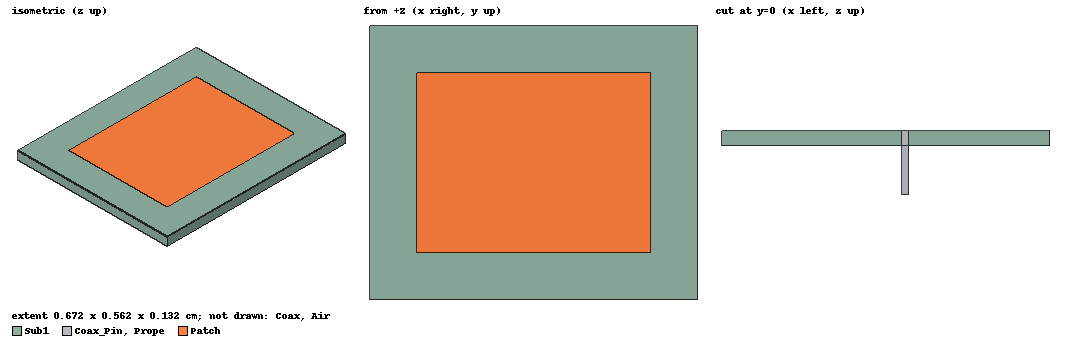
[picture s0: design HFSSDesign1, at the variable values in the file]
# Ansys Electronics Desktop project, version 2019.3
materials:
  vacuum: permittivity=1
  Rogers RT/duroid 5880 (tm): permittivity=2.2 dielectric_loss_tangent=0.0009
  pec: conductivity=1e+30
  Rogers RO4003 (tm): permittivity=3.55 dielectric_loss_tangent=0.0027

design HFSSDesign1 (HFSS, DrivenTerminal, model units cm)
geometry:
  Sub1 [Rogers RO4003 (tm)] = box(corner=((-7-3*0.32) mm, (-1-3*0.32) mm, 0mm), size=((6*0.32+4.8) mm, (6*0.32+3.7) mm, 0.32mm))
  inf_GND [Rogers RT/duroid 5880 (tm)] = rectangle(corner=((-7-3*0.32) mm, (-1-3*0.32) mm, 0mm), x_size=(6*0.32+4.8) mm, y_size=(6*0.32+3.7) mm)
  Cut_Out = circle(normal=Z, centre=(-0.5cm, 0cm, 0cm), radius=0.16mm)
  inf_GND.subtract(Cut_Out)
  Patch [Rogers RT/duroid 5880 (tm)] = rectangle(corner=((-0.7*10) mm, (-0.1*10) mm, 0.32mm), x_size=4.8mm, y_size=3.7mm)
  Coax [vacuum] = cylinder(axis=Z, base_centre=(-0.5cm, 0cm, 0cm), radius=0.16mm, height=-0.1cm)
  Coax_Pin [pec] = cylinder(axis=Z, base_centre=(-0.5cm, 0cm, 0cm), radius=0.07mm, height=-0.1cm)
  Port1 [pec] = circle(normal=Z, centre=(-0.5cm, 0cm, -0.1cm), radius=0.16mm)
  Prope [pec] = cylinder(axis=Z, base_centre=(-0.5cm, 0cm, 0cm), radius=0.07mm, height=0.32mm)
  Air [vacuum] = box(corner=(-2.5cm, -1cm, 0cm), size=(4cm, 2cm, 1.32cm))
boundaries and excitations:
  PerfE_inf_GND: Perfect E Objects=inf_GND
  PerfE_Patch: Perfect E Objects=Patch
  Rad1: Radiation Faces=Air.face(+x, +y, -y, -x, +z)
  Coax_Pin_T1: Terminal port=1 Faces=Coax_Pin.face(2 of 3) TerminalResistance=50ohm
  1: Wave Port Faces=Port1.face NumModes=1
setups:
  Setup1: HfssDriven Frequency=20GHz MaxDeltaS=0.02 MaximumPasses=20 MinimumPasses=1 MinimumConvergedPasses=1 PercentRefinement=30 BasisOrder=1 PortAccuracy=2
    sweep Sweep: 17GHz to 23GHz, 201 points; Type=Interpolating InterpTolerance=0.5 InterpMaxSolns=250 PassivityErrorTolerance=0.0001
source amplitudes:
  1:1: 1V 0deg
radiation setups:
  Infinite Sphere1: Infinite Sphere Theta=-180deg..180deg step 2deg Phi=0deg..90deg step 90deg
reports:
  Terminal S Parameter Plot 1: dB(St(Coax_Pin_T1,Coax_Pin_T1)) vs Freq on Setup1 : Sweep; markers m1 at 20.12GHz
  Gain Plot 1: GainTotal vs Theta on Setup1 : LastAdaptive, Infinite Sphere1 [Phi=all Freq=20GHz]
